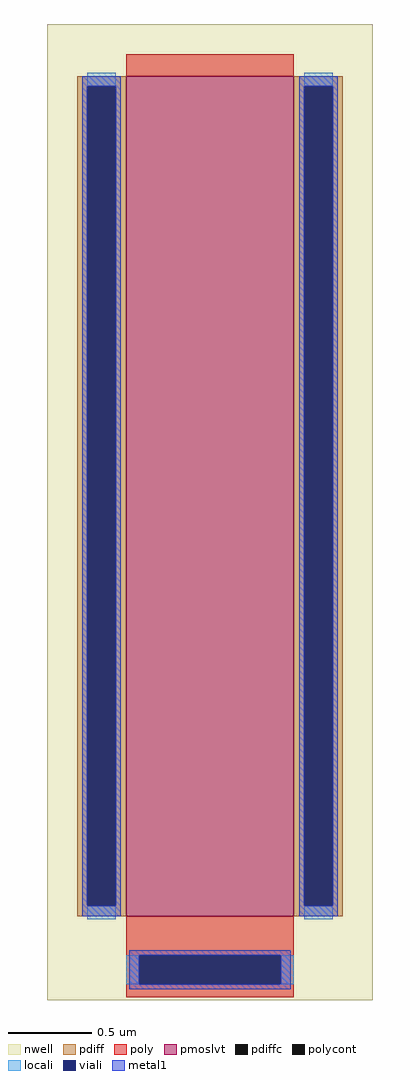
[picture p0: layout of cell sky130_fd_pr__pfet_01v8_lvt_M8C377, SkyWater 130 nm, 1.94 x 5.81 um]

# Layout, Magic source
magic
tech sky130B
magscale 1 2
<< nwell >>
rect -194 -564 194 598
<< pmoslvt >>
rect -100 -464 100 536
<< pdiff >>
rect -158 524 -100 536
rect -158 -452 -146 524
rect -112 -452 -100 524
rect -158 -464 -100 -452
rect 100 524 158 536
rect 100 -452 112 524
rect 146 -452 158 524
rect 100 -464 158 -452
<< pdiffc >>
rect -146 -452 -112 524
rect 112 -452 146 524
<< poly >>
rect -100 536 100 562
rect -100 -511 100 -464
rect -100 -545 -84 -511
rect 84 -545 100 -511
rect -100 -561 100 -545
<< polycont >>
rect -84 -545 84 -511
<< locali >>
rect -146 524 -112 540
rect -146 -468 -112 -452
rect 112 524 146 540
rect 112 -468 146 -452
rect -100 -545 -84 -511
rect 84 -545 100 -511
<< viali >>
rect -146 -452 -112 524
rect 112 -452 146 524
rect -84 -545 84 -511
<< metal1 >>
rect -152 524 -106 536
rect -152 -452 -146 524
rect -112 -452 -106 524
rect -152 -464 -106 -452
rect 106 524 152 536
rect 106 -452 112 524
rect 146 -452 152 524
rect 106 -464 152 -452
rect -96 -511 96 -505
rect -96 -545 -84 -511
rect 84 -545 96 -511
rect -96 -551 96 -545
<< properties >>
string gencell sky130_fd_pr__pfet_01v8_lvt
string library sky130
string parameters w 5 l 1 m 1 nf 1 diffcov 100 polycov 100 guard 0 glc 0 grc 0 gtc 0 gbc 0 tbcov 100 rlcov 100 topc 0 botc 1 poverlap 0 doverlap 0 lmin 0.35 wmin 0.42 class mosfet compatible {sky130_fd_pr__pfet_01v8  sky130_fd_pr__pfet_01v8_lvt sky130_fd_pr__pfet_01v8_hvt  sky130_fd_pr__pfet_g5v0d10v5} full_metal 0 viasrc 100 viadrn 100 viagate 100 viagb 0 viagr 0 viagl 0 viagt 0
<< end >>
